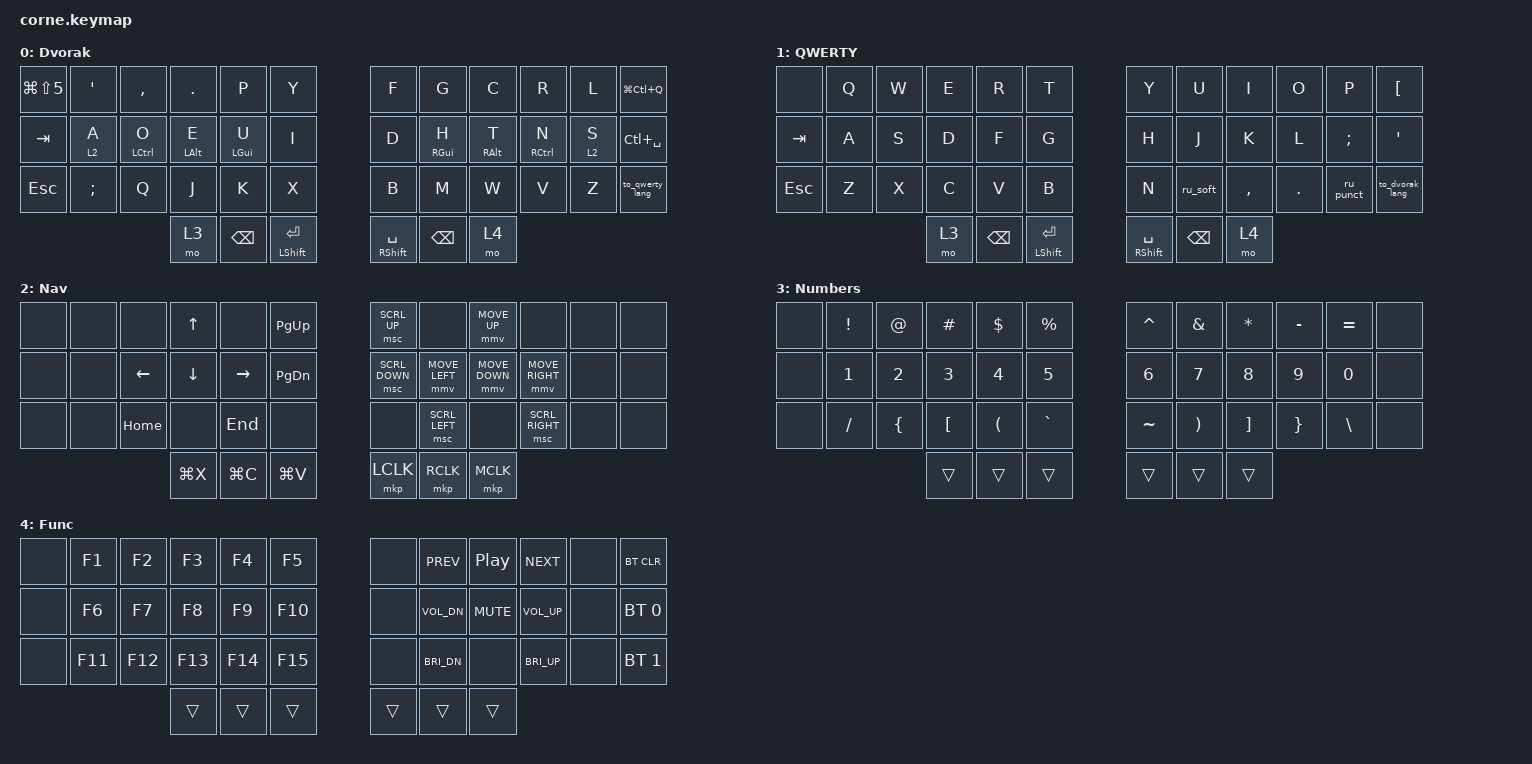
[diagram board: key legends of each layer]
/*
 * Copyright (c) 2020 The ZMK Contributors
 *
 * SPDX-License-Identifier: MIT
 */

#define ZMK_POINTING_DEFAULT_MOVE_VAL 800   // default: 600
#define ZMK_POINTING_DEFAULT_SCRL_VAL 15    // default: 10

#include <behaviors.dtsi>
#include <dt-bindings/zmk/keys.h>
#include <dt-bindings/zmk/bt.h>
#include <dt-bindings/zmk/pointing.h>

/ {
    behaviors {
        hm: homerow_mods {
            compatible = "zmk,behavior-hold-tap";
            #binding-cells = <2>;
            tapping-term-ms = <280>;
            quick-tap-ms = <175>;
            require-prior-idle-ms = <150>;
            flavor = "balanced";
            bindings = <&kp>, <&kp>;
        };

        ru_soft: russian_soft_hard_sign {
            compatible = "zmk,behavior-tap-dance";
            #binding-cells = <0>;
            tapping-term-ms = <200>;
            bindings = <&kp M>, <&kp RBKT>;
        };

        ru_punct: russian_dot_comma {
            compatible = "zmk,behavior-tap-dance";
            #binding-cells = <0>;
            tapping-term-ms = <200>;
            bindings = <&kp AMPS>, <&kp CARET>;
        };
    };

    macros {
        to_qwerty_lang: to_qwerty_lang {
            compatible = "zmk,behavior-macro";
            #binding-cells = <0>;
            bindings = <&to 1>, <&kp LC(SPACE)>;
        };

        to_dvorak_lang: to_dvorak_lang {
            compatible = "zmk,behavior-macro";
            #binding-cells = <0>;
            bindings = <&to 0>, <&kp LC(SPACE)>;
        };
    };

    keymap {
        compatible = "zmk,keymap";

// ┌─────────┬─────┬─────┬─────┬───────┬───────┐   ┌───────┬───────┬─────┬─────┬─────┬───────┐
// │ ⌘⇧5 SCR │  '  │  ,  │  .  │   P   │   Y   │   │   F   │   G   │  C  │  R  │  L  │ LOCK  │
// ├─────────┼─────┼─────┼─────┼───────┼───────┤   ├───────┼───────┼─────┼─────┼─────┼───────┤
// │   TAB   │  A  │  O  │  E  │   U   │   I   │   │   D   │   H   │  T  │  N  │  S  │ LANG  │
// │         │ MOV │CTRL │ ALT │  GUI  │       │   │       │  GUI  │ ALT │CTRL │ MOV │       │
// ├─────────┼─────┼─────┼─────┼───────┼───────┤   ├───────┼───────┼─────┼─────┼─────┼───────┤
// │   ESC   │  ;  │  Q  │  J  │   K   │   X   │   │   B   │   M   │  W  │  V  │  Z  │ Q+LNG │
// └─────────┴─────┴─────┼─────┼───────┼───────┤   ├───────┼───────┼─────┼─────┴─────┴───────┘
//                       │ NUM │ BSPC  │  ENT  │   │  SPC  │  BSPC │ FN  │
//                       │     │       │ SHIFT │   │ SHIFT │       │     │
//                       └─────┴───────┴───────┘   └───────┴───────┴─────┘
        default_layer {
            display-name = "Dvorak";
            bindings = <
&kp LG(LS(N5))   &kp SQT        &kp COMMA     &kp DOT      &kp P        &kp Y                  &kp F           &kp G        &kp C        &kp R         &kp L         &kp LG(LC(Q))
&kp TAB          &lt 2 A        &hm LCTRL O   &hm LALT E   &hm LGUI U   &kp I                  &kp D           &hm RGUI H   &hm RALT T   &hm RCTRL N   &lt 2 S       &kp LC(SPACE)
&kp ESC          &kp SEMI       &kp Q         &kp J        &kp K        &kp X                  &kp B           &kp M        &kp W        &kp V         &kp Z         &to_qwerty_lang
                                              &mo 3        &kp BSPC     &hm LSHFT RET          &hm RSHFT SPACE &kp BSPC     &mo 4
            >;
        };


// ENGLISH LAYOUT (when OS set to English):
// ┌─────┬─────┬─────┬─────┬─────┬───────┐   ┌───────┬─────┬─────┬─────┬─────┬─────┐
// │ --- │  Q  │  W  │  E  │  R  │   T   │   │   Y   │  U  │  I  │  O  │  P  │  [  │
// ├─────┼─────┼─────┼─────┼─────┼───────┤   ├───────┼─────┼─────┼─────┼─────┼─────┤
// │ TAB │  A  │  S  │  D  │  F  │   G   │   │   H   │  J  │  K  │  L  │  ;  │  '  │
// ├─────┼─────┼─────┼─────┼─────┼───────┤   ├───────┼─────┼─────┼─────┼─────┼─────┤
// │ ESC │  Z  │  X  │  C  │  V  │   B   │   │   N   │ M/] │  ,  │  .  │ &/^ │D+LNG│
// └─────┴─────┴─────┼─────┼─────┼───────┤   ├───────┼─────┼─────┼─────┴─────┴─────┘
//                   │ NUM │BSPC │  ENT  │   │  SPC  │BSPC │ FN  │
//                   │     │     │ SHIFT │   │ SHIFT │     │     │
//                   └─────┴─────┴───────┘   └───────┴─────┴─────┘
//
// RUSSIAN LAYOUT (when OS set to Russian):
// ┌─────┬─────┬─────┬─────┬─────┬───────┐   ┌───────┬─────┬─────┬─────┬─────┬─────┐
// │ --- │  Й  │  Ц  │  У  │  К  │   Е   │   │   Н   │  Г  │  Ш  │  Щ  │  З  │  Х  │
// ├─────┼─────┼─────┼─────┼─────┼───────┤   ├───────┼─────┼─────┼─────┼─────┼─────┤
// │ TAB │  Ф  │  Ы  │  В  │  А  │   П   │   │   Р   │  О  │  Л  │  Д  │  Ж  │  Э  │
// ├─────┼─────┼─────┼─────┼─────┼───────┤   ├───────┼─────┼─────┼─────┼─────┼─────┤
// │ ESC │  Я  │  Ч  │  С  │  М  │   И   │   │   Т   │ ь/ъ │  Б  │  Ю  │ &/^ │D+LNG│
// └─────┴─────┴─────┼─────┼─────┼───────┤   ├───────┼─────┼─────┼─────┴─────┴─────┘
//                   │ NUM │BSPC │  ENT  │   │  SPC  │BSPC │ FN  │
//                   │     │     │ SHIFT │   │ SHIFT │     │     │
//                   └─────┴─────┴───────┘   └───────┴─────┴─────┘
        qwerty_layer {
            display-name = "QWERTY";
            bindings = <
&none     &kp Q   &kp W   &kp E   &kp R   &kp T      &kp Y                  &kp U           &kp I       &kp O     &kp P       &kp LBKT
&kp TAB   &kp A   &kp S   &kp D   &kp F   &kp G      &kp H                  &kp J           &kp K       &kp L     &kp SEMI    &kp SQT
&kp ESC   &kp Z   &kp X   &kp C   &kp V   &kp B      &kp N                  &ru_soft        &kp COMMA   &kp DOT   &ru_punct   &to_dvorak_lang
                                  &mo 3   &kp BSPC   &hm LSHFT RET          &hm RSHFT SPACE &kp BSPC    &mo 4
            >;
        };

// ┌─────┬─────┬─────┬─────┬─────┬─────┐   ┌─────┬─────┬─────┬─────┬─────┬─────┐
// │ --- │ --- │ --- │ UP  │ --- │ PG↑ │   │SCR↑ │ --- │ M↑  │ --- │ --- │ --- │
// ├─────┼─────┼─────┼─────┼─────┼─────┤   ├─────┼─────┼─────┼─────┼─────┼─────┤
// │ --- │ --- │LEFT │DOWN │RIGHT│ PG↓ │   │SCR↓ │ M←  │ M↓  │ M→  │ --- │ --- │
// ├─────┼─────┼─────┼─────┼─────┼─────┤   ├─────┼─────┼─────┼─────┼─────┼─────┤
// │ --- │ --- │HOME │ --- │ END │ --- │   │ --- │ SC← │ --- │ SC→ │ --- │ --- │
// └─────┴─────┴─────┼─────┼─────┼─────┤   ├─────┼─────┼─────┼─────┴─────┴─────┘
//                   │ ⌘+X │ ⌘+C │ ⌘+V │   │LCLK │RCLK │MCLK │
//                   └─────┴─────┴─────┘   └─────┴─────┴─────┘
        movement_layer {
            display-name = "Nav";
            bindings = <
&none   &none   &none      &kp UP     &none       &kp PG_UP   &msc SCRL_UP          &none            &mmv MOVE_UP     &none             &none   &none
&none   &none   &kp LEFT   &kp DOWN   &kp RIGHT   &kp PG_DN   &msc SCRL_DOWN        &mmv MOVE_LEFT   &mmv MOVE_DOWN   &mmv MOVE_RIGHT   &none   &none
&none   &none   &kp HOME   &none      &kp END     &none       &none                 &msc SCRL_LEFT   &none            &msc SCRL_RIGHT   &none   &none
                                      &kp LG(X)   &kp LG(C)   &kp LG(V)             &mkp LCLK        &mkp RCLK        &mkp MCLK
            >;
        };

// ┌─────┬─────┬─────┬─────┬─────┬─────┐   ┌─────┬─────┬─────┬─────┬─────┬─────┐
// │ --- │  !  │  @  │  #  │  $  │  %  │   │  ^  │  &  │  *  │  -  │  =  │ --- │
// ├─────┼─────┼─────┼─────┼─────┼─────┤   ├─────┼─────┼─────┼─────┼─────┼─────┤
// │ --- │  1  │  2  │  3  │  4  │  5  │   │  6  │  7  │  8  │  9  │  0  │ --- │
// ├─────┼─────┼─────┼─────┼─────┼─────┤   ├─────┼─────┼─────┼─────┼─────┼─────┤
// │ --- │  /  │  {  │  [  │  (  │  `  │   │  ~  │  )  │  ]  │  }  │  \  │ --- │
// └─────┴─────┴─────┼─────┼─────┼─────┤   ├─────┼─────┼─────┼─────┴─────┴─────┘
//                   │ --- │ --- │ --- │   │ --- │ --- │ --- │
//                   └─────┴─────┴─────┘   └─────┴─────┴─────┘
        numbers_symbols_layer {
            display-name = "Numbers";
            bindings = <
&none   &kp EXCL   &kp AT     &kp HASH   &kp DLLR   &kp PRCNT        &kp CARET   &kp AMPS   &kp ASTRK   &kp MINUS   &kp EQUAL   &none
&none   &kp N1     &kp N2     &kp N3     &kp N4     &kp N5           &kp N6      &kp N7     &kp N8      &kp N9      &kp N0      &none
&none   &kp FSLH   &kp LBRC   &kp LBKT   &kp LPAR   &kp GRAVE        &kp TILDE   &kp RPAR   &kp RBKT    &kp RBRC    &kp BSLH    &none
                              &trans     &trans     &trans           &trans      &trans     &trans
            >;
        };

// ┌─────┬─────┬─────┬─────┬─────┬─────┐   ┌─────┬──────┬──────┬──────┬─────┬──────┐
// │ --- │ F1  │ F2  │ F3  │ F4  │ F5  │   │ --- │ PREV │ PLAY │ NEXT │ --- │BT CLR│
// ├─────┼─────┼─────┼─────┼─────┼─────┤   ├─────┼──────┼──────┼──────┼─────┼──────┤
// │ --- │ F6  │ F7  │ F8  │ F9  │ F10 │   │ --- │ VOL- │ MUTE │ VOL+ │ --- │ BT 1 │
// ├─────┼─────┼─────┼─────┼─────┼─────┤   ├─────┼──────┼──────┼──────┼─────┼──────┤
// │ --- │ F11 │ F12 │ F13 │ F14 │ F15 │   │ --- │ BRI- │ ---- │ BRI+ │ --- │ BT 2 │
// └─────┴─────┴─────┼─────┼─────┼─────┤   ├─────┼──────┼──────┼──────┴─────┴──────┘
//                   │ --- │ --- │ --- │   │ --- │ ---  │ ---- │
//                   └─────┴─────┴─────┘   └─────┴──────┴──────┘
        function_media_layer {
            display-name = "Func";
            bindings = <
&none   &kp F1    &kp F2    &kp F3    &kp F4    &kp F5         &none    &kp C_PREV     &kp C_PP     &kp C_NEXT     &none   &bt BT_CLR
&none   &kp F6    &kp F7    &kp F8    &kp F9    &kp F10        &none    &kp C_VOL_DN   &kp C_MUTE   &kp C_VOL_UP   &none   &bt BT_SEL 0
&none   &kp F11   &kp F12   &kp F13   &kp F14   &kp F15        &none    &kp C_BRI_DN   &none        &kp C_BRI_UP   &none   &bt BT_SEL 1
                            &trans    &trans    &trans         &trans   &trans         &trans
            >;
        };

        extra_1 {
                status = "reserved";
        };

        extra_2 {
                status = "reserved";
        };

        extra_3 {
                status = "reserved";
        };
    };
};

// Mouse behavior overrides (must be outside the main devicetree root)
&mmv {
    time-to-max-speed-ms = <250>;  // default: 300
    acceleration-exponent = <1>;   // default: 1
};

&msc {
    time-to-max-speed-ms = <100>;  // default: 300
    acceleration-exponent = <0>;   // default: 0
};
